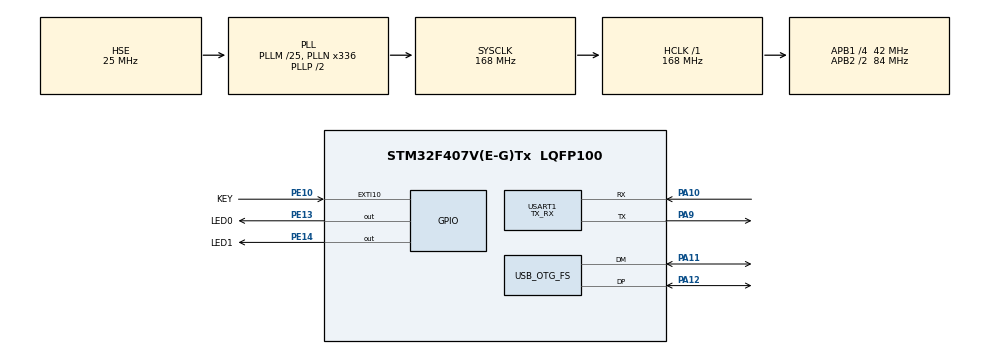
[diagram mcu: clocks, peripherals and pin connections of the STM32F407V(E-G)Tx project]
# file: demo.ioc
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Mcu.Family=STM32F4
Mcu.Name=STM32F407V(E-G)Tx
Mcu.Package=LQFP100
NVIC.EXTI15_10_IRQn=true\:0\:0\:false\:false\:true\:true\:true\:true
NVIC.OTG_FS_IRQn=true\:0\:0\:false\:false\:true\:false\:true\:true
NVIC.PriorityGroup=NVIC_PRIORITYGROUP_4
PA10.Mode=Asynchronous
PA10.Signal=USART1_RX
PA11.Mode=Host_Only
PA11.Signal=USB_OTG_FS_DM
PA12.Mode=Host_Only
PA12.Signal=USB_OTG_FS_DP
PA13.Mode=Serial_Wire
PA13.Signal=SYS_JTMS-SWDIO
PA14.Mode=Serial_Wire
PA14.Signal=SYS_JTCK-SWCLK
PA9.Mode=Asynchronous
PA9.Signal=USART1_TX
PE10.GPIO_Label=KEY
PE10.GPIO_PuPd=GPIO_PULLUP
PE10.Signal=GPXTI10
PE13.GPIO_Label=LED0
PE13.GPIO_PuPd=GPIO_PULLUP
PE13.Signal=GPIO_Output
PE14.GPIO_Label=LED1
PE14.GPIO_PuPd=GPIO_PULLUP
PE14.Signal=GPIO_Output
PH0-OSC_IN.Mode=HSE-External-Oscillator
PH0-OSC_IN.Signal=RCC_OSC_IN
PH1-OSC_OUT.Mode=HSE-External-Oscillator
PH1-OSC_OUT.Signal=RCC_OSC_OUT
ProjectManager.HeapSize=0x2000
ProjectManager.StackSize=0x2000
ProjectManager.TargetToolchain=MDK-ARM V5
RCC.48MHZClocksFreq_Value=48000000
RCC.AHBFreq_Value=168000000
RCC.APB1CLKDivider=RCC_HCLK_DIV4
RCC.APB1Freq_Value=42000000
RCC.APB1TimFreq_Value=84000000
RCC.APB2CLKDivider=RCC_HCLK_DIV2
RCC.APB2Freq_Value=84000000
RCC.APB2TimFreq_Value=168000000
RCC.CortexFreq_Value=168000000
RCC.HCLKFreq_Value=168000000
RCC.HSE_VALUE=25000000
RCC.HSI_VALUE=16000000
RCC.LSE_VALUE=32768
RCC.PLLM=25
RCC.PLLN=336
RCC.PLLQ=7
RCC.SYSCLKFreq_VALUE=168000000
RCC.SYSCLKSource=RCC_SYSCLKSOURCE_PLLCLK
RCC.VCOOutputFreq_Value=336000000
USART1.Mode=MODE_TX_RX
USART1.VirtualMode=VM_ASYNC
USB_HOST.USBH_HandleTypeDef-MSC_FS=hUsbHostFS
USB_HOST.VirtualModeFS=Msc
USB_OTG_FS.VirtualMode=Host_Only
USB_OTG_FS.phy_itface=HCD_PHY_EMBEDDED
VP_FATFS_VS_USB.Mode=USB
VP_USB_HOST_VS_USB_HOST_MSC_FS.Mode=MSC_FS
board=custom

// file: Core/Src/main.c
/* USER CODE BEGIN Header */
/**
  ******************************************************************************
  * @file           : main.c
  * @brief          : Main program body
  ******************************************************************************
  * @attention
  *
  * Copyright (c) 2025 STMicroelectronics.
  * All rights reserved.
  *
  * This software is licensed under terms that can be found in the LICENSE file
  * in the root directory of this software component.
  * If no LICENSE file comes with this software, it is provided AS-IS.
  *
  ******************************************************************************
  */
/* USER CODE END Header */
#include "main.h"
#include "fatfs.h"
#include "usart.h"
#include "usb_host.h"
#include "gpio.h"

/* USER CODE BEGIN PV */
extern char USBHPath[4];   /* USBH logical drive path */
extern FATFS USBHFatFS;    /* File system object for USBH logical drive */
extern FIL USBHFile;       /* File object for USBH */
extern ApplicationTypeDef Appli_state;

#define BUFF_LEN	256
uint8_t buttonFlag = 0;
uint8_t buffer[BUFF_LEN];
uint32_t bytesWritten, bytesRead;
/* USER CODE END PV */

void SystemClock_Config(void);
void MX_USB_HOST_Process(void);

/* USER CODE BEGIN 0 */
void HAL_GPIO_EXTI_Callback(uint16_t GPIO_Pin)
{
	static uint32_t debounce = 0;
	static uint32_t now = 0;
printf("%d bytes read\r\n", Appli_state);
	if(GPIO_Pin == KEY_Pin)
	{
		now = HAL_GetTick();
		if(now - debounce < 200) return;
		debounce = HAL_GetTick();
		buttonFlag = 1;
	}
}

void MountUSB(void)
{
	FRESULT res = f_mount(&USBHFatFS, USBHPath, 0);
	if(res != FR_OK) Error_Handler();

	HAL_GPIO_WritePin(LED0_GPIO_Port, LED0_Pin, GPIO_PIN_SET);
	HAL_GPIO_WritePin(LED1_GPIO_Port, LED1_Pin, GPIO_PIN_RESET);
}

void UnMountUSB(void)
{
	FRESULT res = f_mount(NULL, "", 0);
	if(res != FR_OK) Error_Handler();

	HAL_GPIO_WritePin(LED0_GPIO_Port, LED0_Pin, GPIO_PIN_RESET);
	HAL_GPIO_WritePin(LED1_GPIO_Port, LED1_Pin, GPIO_PIN_SET);
}

void OpenFile()
{
	FRESULT res = f_open(&USBHFile, "hello.txt", FA_OPEN_ALWAYS | FA_READ | FA_WRITE);
	if(res != FR_OK) Error_Handler();
}

void CloseFile()
{
	FRESULT res = f_close(&USBHFile);
	if(res != FR_OK) Error_Handler();
}

uint32_t ReadFile(uint8_t *buff, uint16_t len)
{
	memset(buff, 0, len);
	FRESULT res = f_read(&USBHFile, buff, len, (void*)&bytesRead);
	if(res != FR_OK) Error_Handler();

	return bytesRead;
}

uint32_t WriteFile(uint8_t *buff, uint16_t len)
{
	FRESULT res;
	res = f_lseek(&USBHFile, f_size(&USBHFile));
	if(res != FR_OK) Error_Handler();

	res = f_write(&USBHFile, buff, len, (void*)&bytesWritten);
	if(res != FR_OK) Error_Handler();

	return bytesWritten;
}

void TruncateFile()
{
	FRESULT res;
	res = f_open(&USBHFile, "hello.txt", FA_OPEN_ALWAYS | FA_READ | FA_WRITE);
	if(res != FR_OK) Error_Handler();

	res = f_lseek(&USBHFile, 0);
	if(res != FR_OK) Error_Handler();

	res = f_truncate(&USBHFile);
	if(res != FR_OK) Error_Handler();

	res = f_close(&USBHFile);
	if(res != FR_OK) Error_Handler();
}

/* USER CODE END 0 */

int main(void)
{

  /* MCU Configuration--------------------------------------------------------*/

  /* Reset of all peripherals, Initializes the Flash interface and the Systick. */
  HAL_Init();

  /* Configure the system clock */
  SystemClock_Config();

  /* Initialize all configured peripherals */
  MX_GPIO_Init();
  MX_USB_HOST_Init();
  MX_FATFS_Init();
  MX_USART1_UART_Init();

  /* Infinite loop */
  while (1)
  {
    MX_USB_HOST_Process();

    /* USER CODE BEGIN 3 */
		if(Appli_state == APPLICATION_READY && buttonFlag)
		{
			buttonFlag = 0;

			OpenFile();
			char *msg = "Hello! STM32 Mass Storage Testing...\r\n";
			uint32_t nWritten = WriteFile((uint8_t*)msg, strlen(msg));
			printf("%d bytes written\r\n", nWritten);
			CloseFile();

			OpenFile();
			uint32_t nRead = ReadFile(buffer, BUFF_LEN);
			printf("%d bytes read\r\n", nRead);
			CloseFile();

			printf("%s", buffer);
			fflush(stdout);

			if(nRead >=  BUFF_LEN)
			{
				TruncateFile();
			}
		}
  }
  /* USER CODE END 3 */
}

void SystemClock_Config(void)
{
  RCC_OscInitTypeDef RCC_OscInitStruct = {0};
  RCC_ClkInitTypeDef RCC_ClkInitStruct = {0};

  /** Configure the main internal regulator output voltage
  */
  __HAL_RCC_PWR_CLK_ENABLE();
  __HAL_PWR_VOLTAGESCALING_CONFIG(PWR_REGULATOR_VOLTAGE_SCALE1);

  /** Initializes the RCC Oscillators according to the specified parameters
  * in the RCC_OscInitTypeDef structure.
  */
  RCC_OscInitStruct.OscillatorType = RCC_OSCILLATORTYPE_HSE;
  RCC_OscInitStruct.HSEState = RCC_HSE_ON;
  RCC_OscInitStruct.PLL.PLLState = RCC_PLL_ON;
  RCC_OscInitStruct.PLL.PLLSource = RCC_PLLSOURCE_HSE;
  RCC_OscInitStruct.PLL.PLLM = 25;
  RCC_OscInitStruct.PLL.PLLN = 336;
  RCC_OscInitStruct.PLL.PLLP = RCC_PLLP_DIV2;
  RCC_OscInitStruct.PLL.PLLQ = 7;
  if (HAL_RCC_OscConfig(&RCC_OscInitStruct) != HAL_OK)
  {
    Error_Handler();
  }

  /** Initializes the CPU, AHB and APB buses clocks
  */
  RCC_ClkInitStruct.ClockType = RCC_CLOCKTYPE_HCLK|RCC_CLOCKTYPE_SYSCLK
                              |RCC_CLOCKTYPE_PCLK1|RCC_CLOCKTYPE_PCLK2;
  RCC_ClkInitStruct.SYSCLKSource = RCC_SYSCLKSOURCE_PLLCLK;
  RCC_ClkInitStruct.AHBCLKDivider = RCC_SYSCLK_DIV1;
  RCC_ClkInitStruct.APB1CLKDivider = RCC_HCLK_DIV4;
  RCC_ClkInitStruct.APB2CLKDivider = RCC_HCLK_DIV2;

  if (HAL_RCC_ClockConfig(&RCC_ClkInitStruct, FLASH_LATENCY_5) != HAL_OK)
  {
    Error_Handler();
  }
}

/* USER CODE BEGIN 4 */

int fputc(int ch, FILE* f)
{
    if (ch == '\n')
    {
        HAL_UART_Transmit(&huart1, (uint8_t*)"\r", 1, 0xFF);
    }

    HAL_UART_Transmit(&huart1, (uint8_t*)&ch, 1, 0xFF);

    return (ch);
}

int fgetc(FILE* f)
{
    uint8_t ch = '\0';
    HAL_UART_Receive(&huart1, &ch, 1, 0xFF);
    return ch;
}

void putchar_(char ch)
{
    HAL_UART_Transmit(&huart1, (uint8_t*)&ch, 1, 0xFF);
}

/* USER CODE END 4 */

void Error_Handler(void)
{
  __disable_irq();
  while (1)
  {
  }
}
